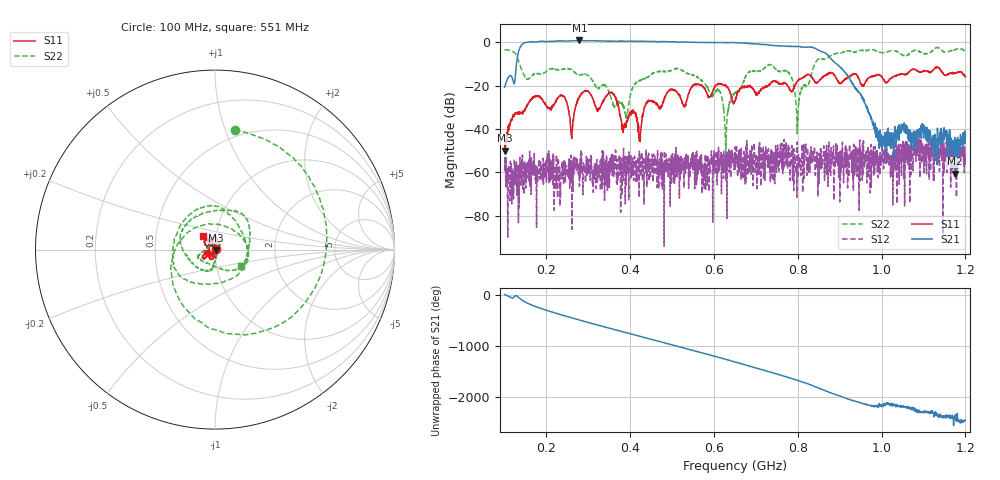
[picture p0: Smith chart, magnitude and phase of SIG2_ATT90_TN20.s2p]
# Hz S DB R 50
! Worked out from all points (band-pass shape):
!   1601 points, 100 MHz to 1.2 GHz, reference 50 ohm
!   highest |S21| = 0.86 dB at 278.8 MHz (marker M1); lowest = -60.6 dB at 1.175 GHz (marker M2)
!   |S21| within 3 dB of the highest: 137.5 MHz to 810 MHz (672.5 MHz wide, 142 % of centre)
!   lowest |S11| = -50.0 dB at 100.7 MHz (marker M3), VSWR 1.01, Z = 50.3 - j0.132 ohm
!   |S11| at or under -10 dB: start of sweep to end of sweep
!   |S22| runs from -62.0 to -2.4 dB; largest |S21 - S12| = 1.1
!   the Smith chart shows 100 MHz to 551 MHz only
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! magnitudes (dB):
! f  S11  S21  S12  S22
! 100 MHz  -47.4  -20.7  -59.2  -3.4
! 100.7 MHz  -50.0  -20.4  -53.1  -3.4
! 146.1 MHz  -31.9  -0.3  -70.1  -15.0
! 237.5 MHz  -24.5  0.6  -54.7  -12.5
! 260.2 MHz  -44.4  0.7  -60.0  -12.6
! 278.8 MHz  -25.3  0.9  -66.4  -15.0
! 283.6 MHz  -23.9  0.8  -51.0  -14.9
! 357.1 MHz  -23.5  0.5  -61.3  -27.6
! 390.1 MHz  -39.1  0.5  -66.2  -33.4
! 411.4 MHz  -32.3  0.5  -56.0  -19.3
! 422.4 MHz  -44.9  0.5  -58.2  -17.7
! 467.1 MHz  -29.8  0.3  -59.5  -13.4
! 611.5 MHz  -18.9  -0.1  -53.8  -21.9
! 628 MHz  -20.0  -0.2  -63.5  -62.0
! 650 MHz  -27.1  -0.2  -48.3  -23.0
! 735.2 MHz  -18.7  -1.3  -50.3  -10.3
! 780.6 MHz  -21.7  -1.8  -54.1  -14.8
! 799.2 MHz  -17.7  -1.9  -52.9  -34.7
! 833.6 MHz  -16.0  -2.3  -56.1  -13.7
! 1.017 GHz  -17.7  -41.6  -56.5  -4.2
! 1.175 GHz  -14.4  -60.6  -50.7  -3.4
! 1.2 GHz  -15.8  -42.5  -54.9  -4.1
